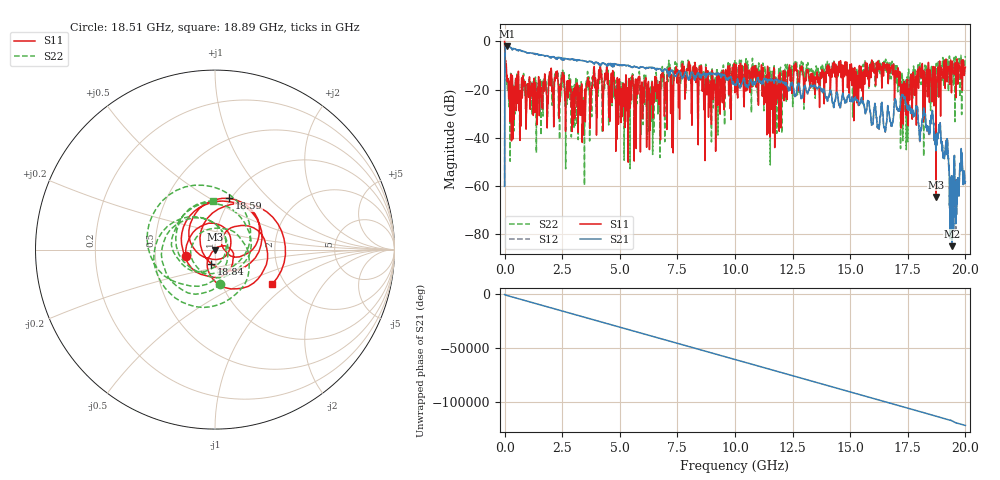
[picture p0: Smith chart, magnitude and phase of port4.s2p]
! MS46122B
! 2250307/22442219
! 2/20/2026 8:55:05 AM
! C:\USERS\SPARKY\DOCUMENTS\VNA_DATA\FEB20_2026\PORT4.S2P
! CHANNEL.1
! TR.MEASUREMENT
! RAW.DATA
# GHZ S RI R 50.0
! FREQ.GHZ  S11RE  S11IM  S21RE  S21IM  S12RE  S12IM  S22RE  S22IM
!; PortSelection: Port_12
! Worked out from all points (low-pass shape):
!   10001 points, 1 MHz to 20 GHz, reference 50 ohm
!   highest |S21| = -1.95 dB at 93 MHz (marker M1); lowest = -85.0 dB at 19.42 GHz (marker M2)
!   |S21| within 3 dB of the highest: 20.07 MHz to 1.178 GHz (1.158 GHz wide, 193 % of centre); 1.185 GHz to 1.242 GHz (56.98 MHz wide, 4.69 % of centre)
!   lowest |S11| = -64.5 dB at 18.72 GHz (marker M3), VSWR 1.00, Z = 50 + j0.0456 ohm
!   |S11| at or under -10 dB: 76.17 MHz to 7.703 GHz (7.627 GHz wide, 196 % of centre); 8.539 GHz to 9.951 GHz (1.412 GHz wide, 15.3 % of centre); 12.65 GHz to 14.03 GHz (1.382 GHz wide, 10.4 % of centre) (the widest 3 of 56)
!   |S22| runs from -59.7 to -0.2 dB; largest |S21 - S12| = 0.068
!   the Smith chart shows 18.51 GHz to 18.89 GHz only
!   S11 on the Smith chart (normalised r, x): 18.51 GHz: 0.72, -0.05; 18.59 GHz: 0.98, +0.61; 18.84 GHz: 0.94, -0.15; 18.89 GHz: 1.71, -0.77
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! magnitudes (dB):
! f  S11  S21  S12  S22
! 1 MHz  0.4  -60.1  -60.2  -0.2
! 93 MHz  -15.0  -2.0  -2.0  -18.3
! 435 MHz  -19.8  -3.1  -3.1  -19.7
! 2.247 GHz  -15.1  -6.7  -6.7  -14.2
! 3.335 GHz  -19.3  -7.9  -8.0  -19.0
! 4.129 GHz  -14.6  -9.3  -9.3  -16.2
! 4.867 GHz  -28.4  -9.5  -9.6  -20.5
! 6.669 GHz  -18.0  -11.4  -11.5  -18.0
! 7.419 GHz  -12.4  -14.3  -14.3  -9.8
! 9.075 GHz  -18.0  -13.3  -13.2  -20.5
! 10 GHz  -21.0  -18.2  -17.5  -8.8
! 13.33 GHz  -16.5  -18.4  -18.6  -13.8
! 16.67 GHz  -12.3  -29.2  -29.2  -11.3
! 17.29 GHz  -21.9  -22.3  -22.2  -26.6
! 18.51 GHz  -15.7  -32.9  -33.0  -14.3
! 18.59 GHz  -10.6  -31.1  -31.3  -12.6
! 18.72 GHz  -64.5  -41.8  -42.1  -9.9
! 18.84 GHz  -21.8  -35.8  -36.1  -10.4
! 18.89 GHz  -8.6  -34.8  -35.1  -11.3
! 19.42 GHz  -8.7  -85.0  -83.9  -10.0
! 19.85 GHz  -9.0  -46.8  -47.2  -14.1
! 20 GHz  -10.7  -58.2  -59.0  -6.1
